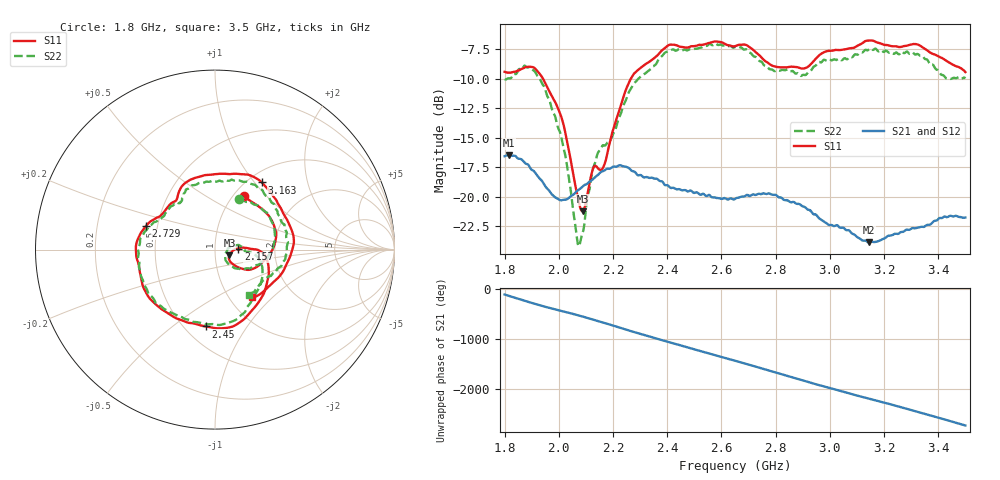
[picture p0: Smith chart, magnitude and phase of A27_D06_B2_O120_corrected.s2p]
! Created with skrf 1.9.0 (http://scikit-rf.org).
# Hz S RI R 50.0
!freq ReS11 ImS11 ReS21 ImS21 ReS12 ImS12 ReS22 ImS22
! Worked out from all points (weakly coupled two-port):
!   1601 points, 1.8 GHz to 3.5 GHz, reference 50 ohm
!   highest |S21| = -16.49 dB at 1.815 GHz (marker M1); lowest = -23.9 dB at 3.143 GHz (marker M2)
!   lowest |S11| = -21.3 dB at 2.088 GHz (marker M3), VSWR 1.19, Z = 58.6 - j3.8 ohm
!   |S11| at or under -10 dB: 1.941 GHz to 2.266 GHz (324.4 MHz wide, 15.4 % of centre)
!   |S22| runs from -24.2 to -7.0 dB; largest |S21 - S12| = 0.0024
!   S11 on the Smith chart (normalised r, x): 1.8 GHz: 1.12, +0.75; 2.157 GHz: 1.30, +0.00; 2.45 GHz: 0.63, -0.66; 2.729 GHz: 0.43, +0.13; 3.163 GHz: 1.16, +1.09; 3.5 GHz: 1.27, -0.76
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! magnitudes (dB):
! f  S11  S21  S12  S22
! 1.8 GHz  -9.4  -16.6  -16.6  -10.1
! 1.815 GHz  -9.5  -16.5  -16.5  -10.0
! 1.88 GHz  -9.0  -17.2  -17.2  -9.0
! 1.943 GHz  -10.1  -18.9  -18.9  -10.6
! 2.013 GHz  -13.5  -20.3  -20.3  -15.4
! 2.068 GHz  -19.8  -19.5  -19.5  -23.7
! 2.084 GHz  -21.2  -19.2  -19.2  -23.4
! 2.088 GHz  -21.3  -19.2  -19.2  -23.1
! 2.127 GHz  -17.6  -18.5  -18.5  -17.5
! 2.157 GHz  -17.7  -17.9  -17.9  -15.8
! 2.262 GHz  -10.2  -17.7  -17.7  -11.0
! 2.367 GHz  -7.9  -18.6  -18.5  -8.4
! 2.45 GHz  -7.3  -19.4  -19.4  -7.6
! 2.65 GHz  -7.2  -20.2  -20.2  -7.3
! 2.729 GHz  -7.8  -19.9  -19.9  -8.2
! 2.807 GHz  -9.0  -20.0  -20.0  -9.3
! 2.934 GHz  -8.7  -21.3  -21.3  -9.2
! 3.143 GHz  -6.8  -23.9  -23.8  -7.5
! 3.163 GHz  -6.8  -23.9  -23.8  -7.5
! 3.217 GHz  -7.2  -23.3  -23.3  -7.8
! 3.325 GHz  -7.1  -22.6  -22.6  -7.9
! 3.5 GHz  -9.4  -21.8  -21.8  -10.0
